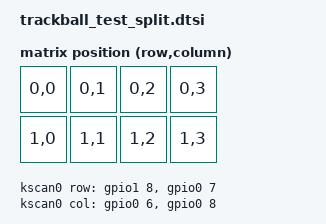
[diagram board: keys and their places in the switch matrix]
/*
 * 分割の机上試験：Feather nRF52840 Express ×2、左右とも タクトスイッチ4個（2行×2列）
 * 右だけ PMW3610 基板（zzz-kbd）を付ける。キーの配線は左右とも 1台用の trackball_test と同じピン
 */

#include <dt-bindings/zmk/matrix_transform.h>
#include "trackball_test_split-layouts.dtsi"

/ {
    chosen {
        zmk,kscan = &kscan0;
        zmk,physical-layout = &trackball_test_split_physical_layout;
    };

    // キー：ダイオードなしの 2×2 マトリクス。列に電圧を出し、行で読む
    kscan0: kscan0 {
        compatible = "zmk,kscan-gpio-matrix";
        diode-direction = "col2row";
        wakeup-source;

        col-gpios
            = <&gpio0 6 GPIO_ACTIVE_HIGH>    // 列0：D11 = P0.06
            , <&gpio0 8 GPIO_ACTIVE_HIGH>    // 列1：D12 = P0.08
            ;

        row-gpios
            = <&gpio1 8 (GPIO_ACTIVE_HIGH | GPIO_PULL_DOWN)>   // 行0：D5 = P1.08
            , <&gpio0 7 (GPIO_ACTIVE_HIGH | GPIO_PULL_DOWN)>   // 行1：D6 = P0.07
            ;
    };

    // 全体で 2行×4列。左が列0〜1、右が列2〜3（右の .overlay で col-offset = 2）
    default_transform: keymap_transform0 {
        compatible = "zmk,matrix-transform";
        columns = <4>;
        rows = <2>;
        map = <
        //  左SW1   左SW2   右SW1   右SW2
            RC(0,0) RC(0,1) RC(0,2) RC(0,3)
        //  左SW3   左SW4   右SW3   右SW4
            RC(1,0) RC(1,1) RC(1,2) RC(1,3)
        >;
    };
};
